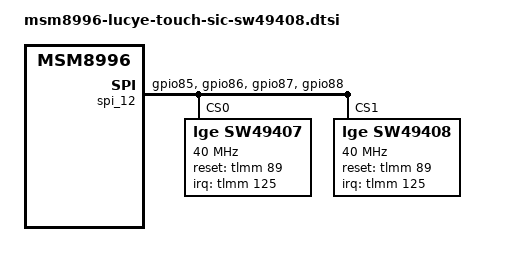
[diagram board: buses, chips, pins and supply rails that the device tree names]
/* Copyright (c) 2014, The Linux Foundation. All rights reserved.
 *
 * This program is free software; you can redistribute it and/or modify
 * it under the terms of the GNU General Public License version 2 and
 * only version 2 as published by the Free Software Foundation.
 *
 * This program is distributed in the hope that it will be useful,
 * but WITHOUT ANY WARRANTY; without even the implied warranty of
 * MERCHANTABILITY or FITNESS FOR A PARTICULAR PURPOSE.  See the
 * GNU General Public License for more details.
 */

&spi_12 {
	status = "ok";
  spi-max-frequency = <40000000>;

  /* Assign runtime functions to pins */
  qcom,use-pinctrl;
  pinctrl-names = "spi_default","spi_sleep";
  pinctrl-0 = <&spi_ts_active &spi_ts_cs_active>;
  pinctrl-1 = <&spi_ts_suspend &spi_ts_cs_suspend>;

  qcom,use-bam;
  qcom,rt-priority;

  sw49407 {
    compatible = "lge,sw49407";
    reg = <0>;
    status = "ok";
    interrupt-parent = <&tlmm>;
    interrupts = <125 0x2008>;
    irqflags = <0x00000002>;
    spi-max-frequency = <40000000>;

    pinctrl-names = "touch_pin_active", "touch_pin_sleep";
    pinctrl-0 = <&ts_reset_active &ts_int_active>;
    pinctrl-1 = <&ts_reset_suspend &ts_int_suspend>;

    reset-gpio = <&tlmm 89 0x00>;
    irq-gpio = <&tlmm 125 0x2008>;

    /* Caps */
    max_x = <1439>;
    max_y = <2879>;
    max_pressure = <0xff>;
    max_width_major = <1439>;
    max_width_minor = <2879>;
    max_orientation = <90>;
    max_id = <10>;
    hw_reset_delay = <90>;
    sw_reset_delay = <10>;

    /* Role */
    use_lpwg = <1>;
    use_lpwg_test = <1>;
    hide_coordinate = <0>;

    /* Firmware */
    fw_image = "touch/lucye/L1L57P1_8_23_SW49407_Lucy_VB.img",
        "touch/lucye/L1L57P1_8_23_SW49407_Lucy_VB.img";

    panel_spec = "touch/lucye/lucye_limit.txt";
    panel_spec_mfts_folder = "touch/lucye/lucye_limit_mfts.txt";

    /* ASC */
    use_asc = <0>;
    low_delta_thres = <350>;
    high_delta_thres = <600>;
    max_delta_cnt = <2>;
  };

  sw49408 {
    compatible = "lge,sw49408";
    reg = <1>;
    status = "ok";
    interrupt-parent = <&tlmm>;
    interrupts = <125 0x2008>;
    irqflags = <0x00000002>;
    spi-max-frequency = <40000000>;

    pinctrl-names = "touch_pin_active", "touch_pin_sleep";
    pinctrl-0 = <&ts_reset_active &ts_int_active>;
    pinctrl-1 = <&ts_reset_suspend &ts_int_suspend>;

    reset-gpio = <&tlmm 89 0x00>;
    irq-gpio = <&tlmm 125 0x2008>;

    /* Caps */
    max_x = <1439>;
    max_y = <2879>;
    max_pressure = <0xff>;
    max_width_major = <1439>;
    max_width_minor = <2879>;
    max_orientation = <90>;
    max_id = <10>;
    hw_reset_delay = <90>;
    sw_reset_delay = <10>;

    /* Role */
    use_lpwg = <1>;
    use_lpwg_test = <1>;
    hide_coordinate = <1>;

    /* Firmware */
    fw_image = "touch/lucye/L1L57P2_1_03.img",
       "touch/lucye/L1L57P2_1_03.img";

    panel_spec = "touch/lucye/lucye_limit.txt";
    panel_spec_mfts_folder = "touch/lucye/lucye_limit_mfts.txt";

    /* ASC */
    use_asc = <0>;
    low_delta_thres = <350>;
    high_delta_thres = <600>;
    max_delta_cnt = <2>;
  };
};

&tlmm {
  pmx_reset_ts {
    reset_active_ts: reset_active_ts {
      mux {
        pins = "gpio89";
        function = "gpio";
      };
      config {
        pins = "gpio89";
        drive-strength = <6>;
        bias-pull-up;
      };
    };

    reset_suspend_ts: reset_suspend_ts {
      mux {
        pins = "gpio89";
        function = "gpio";
      };
      config {
        pins = "gpio89";
        drive-strength = <6>;
        bias-pull-down;
      };
    };
  };

  pmx_int_ts {
    int_active_ts: int_active_ts {
      mux {
        pins = "gpio125";
        function = "gpio";
      };
      config {
        pins = "gpio125";
        drive-strength = <2>;
        bias-disable;
      };
    };

    int_suspend_ts: int_suspend_ts {
      mux {
        pins = "gpio125";
        function = "gpio";
      };
      config {
        pins = "gpio125";
        drive-strength = <2>;
        bias-disable;
      };
    };
  };

  pmx_ts_reset {
    ts_reset_active: ts_reset_active {
      mux {
        pins = "gpio89";
        function = "gpio";
      };
      config {
        pins = "gpio89";
        drive-strength = <6>;
        bias-pull-up;
      };
    };

    ts_reset_suspend: ts_reset_suspend {
      mux {
        pins = "gpio89";
        function = "gpio";
      };
      config {
        pins = "gpio89";
        drive-strength = <6>;
        bias-pull-down;
      };
    };
  };

  pmx_ts_int {
    ts_int_active: ts_int_active {
      mux {
        pins = "gpio125";
        function = "gpio";
      };
      config {
        pins = "gpio125";
        drive-strength = <2>;
        bias-pull-up;
      };
    };

    ts_int_suspend: ts_int_suspend {
      mux {
        pins = "gpio125";
        function = "gpio";
      };
      config {
        pins = "gpio125";
        drive-strength = <2>;
        bias-disable;
      };
    };
  };

  pmx_spi_ts: pmx_spi_ts {
    spi_ts_active: spi_ts_active {
    /* TOUCH MOSI, MISO */
      mux {
        pins = "gpio85", "gpio86";
        function = "blsp_spi12";
      };
      config {
        pins = "gpio85", "gpio86";
        drive-strength = <8>; /* 8MA */
        bias-pull-up;
      };
    };

    spi_ts_suspend: spi_ts_suspend {
    /* TOUCH MOSI, MISO */
      mux {
        pins = "gpio85", "gpio86";
        function = "blsp_spi12";
      };
      config {
        pins = "gpio85", "gpio86";
        drive-strength = <2>; /* 2MA */
        bias-disable; /* No PULL */
      };
    };

    spi_ts_cs_active: spi_ts_cs_active {
      mux {
        pins = "gpio87", "gpio88";
        function = "blsp_spi12";
      };
      config {
        pins = "gpio87", "gpio88";
        drive-strength = <8>;
        bias-pull-up;
      };
    };

    spi_ts_cs_suspend: spi_ts_cs_suspend {
      mux {
        pins = "gpio87", "gpio88";
        function = "blsp_spi12";
      };
      config {
        pins = "gpio87", "gpio88";
        drive-strength = <2>;
        bias-disable; /* No PULL */
      };
    };
  };
};
